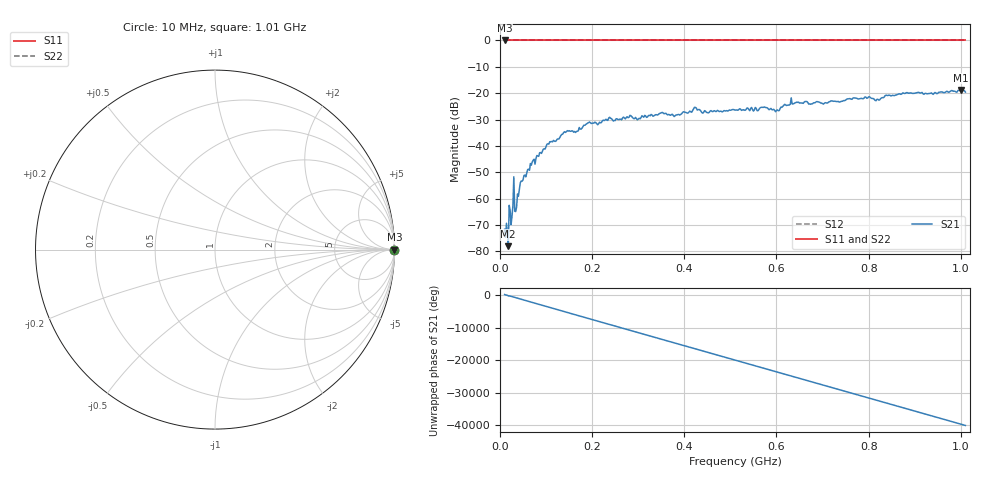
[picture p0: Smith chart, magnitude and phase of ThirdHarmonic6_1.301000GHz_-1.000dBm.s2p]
! 8/16/2025 2:19:07 PM
! C:\ANRITSUVNA\TEMP\TEMP.S2P
! CHANNEL.1
! TR.MEASUREMENT
! RAW.DATA
! RF.CORRECTION.OFF
! AVERAGING.OFF
! IF.BANDWIDTH: 5KHZ
! SWEEPTYPE:  FREQ.SWEEP(Linear)
! Reference Plane Port Info
! PORT:  PORT1  PORT2
! DISTANCE:  0  m  0  m
! TIME:  0  s  0  s
! PHASE.OFFSET:  0  deg.  0  deg.
! LOSS:  0  dB  0  dB
! REF.LOSS:  0  dB  0  dB
! REF.FREQ:  0  Hz  0  Hz
! Power Info
! POWER:  -20  dBm  -20  dBm
! EFF.POWER:  -20  dBm  -20  dBm
! SOURCE.ATTEN:  0  dB  0  dB
! TEST.ATTEN:  0  dB  0  dB
# GHZ S RI R 50.0
! FREQ.GHZ  S11RE  S11IM  S21RE  S21IM  S12RE  S12IM  S22RE  S22IM
!; PortSelection: Port_12
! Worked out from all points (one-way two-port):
!   501 points, 10 MHz to 1.01 GHz, reference 50 ohm
!   highest |S21| = -18.78 dB at 1 GHz (marker M1); lowest = -78.0 dB at 18 MHz (marker M2)
!   lowest |S11| = 0.0 dB at 10 MHz (marker M3)
!   |S11| at or under -10 dB: nowhere
!   |S22| runs from 0.0 to 0.0 dB; largest |S21 - S12| = 1.1
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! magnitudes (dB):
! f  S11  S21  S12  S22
! 10 MHz  0.0  -71.6  0.0  0.0
! 14 MHz  0.0  -69.3  0.0  0.0
! 18 MHz  0.0  -78.0  0.0  0.0
! 22 MHz  0.0  -64.5  0.0  0.0
! 26 MHz  0.0  -66.7  0.0  0.0
! 34 MHz  0.0  -64.9  0.0  0.0
! 36 MHz  0.0  -63.2  0.0  0.0
! 48 MHz  0.0  -53.4  0.0  0.0
! 70 MHz  0.0  -46.1  0.0  0.0
! 106 MHz  0.0  -39.3  0.0  0.0
! 178 MHz  0.0  -33.3  0.0  0.0
! 238 MHz  0.0  -29.1  0.0  0.0
! 344 MHz  0.0  -28.0  0.0  0.0
! 382 MHz  0.0  -28.3  0.0  0.0
! 424 MHz  0.0  -25.4  0.0  0.0
! 510 MHz  0.0  -26.4  0.0  0.0
! 602 MHz  0.0  -26.3  0.0  0.0
! 636 MHz  0.0  -24.1  0.0  0.0
! 678 MHz  0.0  -24.0  0.0  0.0
! 844 MHz  0.0  -20.8  0.0  0.0
! 1 GHz  0.0  -18.8  0.0  0.0
! 1.01 GHz  0.0  -19.6  0.0  0.0
